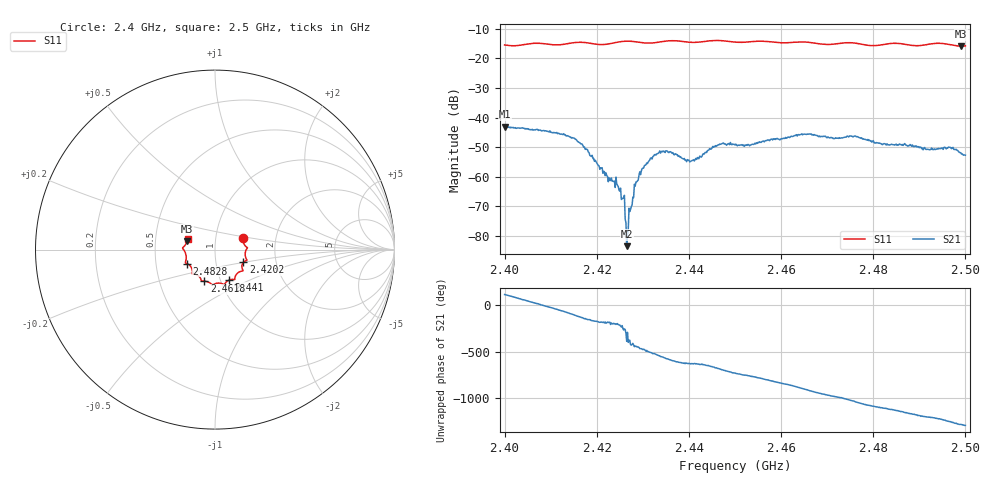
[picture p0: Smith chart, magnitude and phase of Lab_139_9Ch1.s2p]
# Hz S RI R 50
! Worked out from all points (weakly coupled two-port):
!   601 points, 2.4 GHz to 2.5 GHz, reference 50 ohm
!   highest |S21| = -43.08 dB at 2.4 GHz (marker M1); lowest = -83.6 dB at 2.4265 GHz (marker M2)
!   lowest |S11| = -15.8 dB at 2.499 GHz (marker M3), VSWR 1.39, Z = 36.5 + j3.47 ohm
!   |S11| at or under -10 dB: start of sweep to end of sweep
!   S12 and S22 are empty: the file has one direction only
!   S11 on the Smith chart (normalised r, x): 2.4 GHz: 1.36, +0.18; 2.4202 GHz: 1.36, -0.20; 2.441 GHz: 1.10, -0.39; 2.4618 GHz: 0.84, -0.31; 2.4828 GHz: 0.72, -0.12; 2.5 GHz: 0.73, +0.09
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2.4e9  0.1572 0.0628  -0.0027 0.00647  0 0  0 0
2.412667e9  0.169 -0.0363  0.00212 -0.00468  0 0  0 0
2.416667e9  0.1778 -0.06  -0.00246 -0.00261  0 0  0 0
2.420167e9  0.158 -0.0706  -0.00162 -0.000113  0 0  0 0
2.424667e9  0.154 -0.1113  -0.00059 0.000338  0 0  0 0
2.4255e9  0.156 -0.1156  -0.000327 0.000274  0 0  0 0
2.4265e9  0.157 -0.1179  5.87e-05 -3.1e-05  0 0  0 0
2.427e9  0.1563 -0.1184  0.000277 -8.81e-05  0 0  0 0
2.428333e9  0.1509 -0.1193  0.00013 -0.000674  0 0  0 0
2.429667e9  0.1396 -0.1225  -0.000361 -0.00119  0 0  0 0
2.433333e9  0.1121 -0.151  -0.00247 -8.64e-05  0 0  0 0
2.441e9  0.0786 -0.1696  -3.7e-06 0.00193  0 0  0 0
2.446833e9  0.0489 -0.1946  0.00292 0.00195  0 0  0 0
2.45e9  0.0285 -0.187  0.00341 -0.000419  0 0  0 0
2.461833e9  -0.0593 -0.1759  -0.00326 -0.00323  0 0  0 0
2.466667e9  -0.0778 -0.1679  -0.00469 0.00201  0 0  0 0
2.476333e9  -0.1263 -0.129  0.00356 0.00311  0 0  0 0
2.482833e9  -0.1574 -0.0775  0.00305 -0.00155  0 0  0 0
2.483333e9  -0.1604 -0.0762  0.00286 -0.00195  0 0  0 0
2.496833e9  -0.1686 0.0216  -0.00303 -0.000463  0 0  0 0
2.499e9  -0.1548 0.0464  -0.0024 0.000766  0 0  0 0
2.5e9  -0.1518 0.0609  -0.00202 0.0011  0 0  0 0
